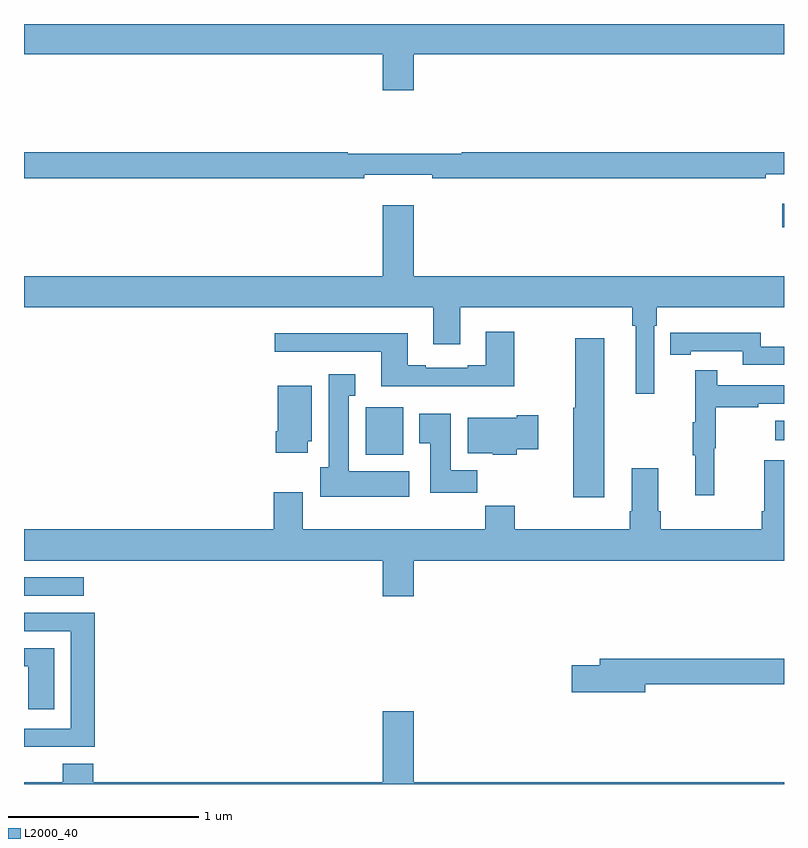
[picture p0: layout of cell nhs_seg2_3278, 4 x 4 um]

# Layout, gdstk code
import gdstk
lib = gdstk.Library(unit=1e-6, precision=1e-09)
def R(c, l, rs):  # rectangles x0, y0, x1, y1
    for r in rs: c.add(gdstk.rectangle(r[:2], r[2:], *l))
def P(c, l, *ps):  # polygons
    for p in ps: c.add(gdstk.Polygon(p, *l))
L2000_40 = (2000, 40)

nhs_seg2_3278 = lib.new_cell('nhs_seg2_3278')
R(nhs_seg2_3278, L2000_40, [(283,640.791,283.315,640.887), (284.799,641.534,284.995,641.784), (286.953,641.609,287,641.713), (286.992,642.731,287,642.853)])
P(nhs_seg2_3278, L2000_40, [(285.052,643.64),(287,643.64),(287,643.8),(283,643.8),(283,643.64),(284.888,643.64),(284.888,643.452),(285.052,643.452)],
  [(284.792,643.007),(285.148,643.007),(285.148,642.988),(286.904,642.988),(286.904,643.008),(287,643.008),(287,643.124),(285.305,643.124),(285.305,643.117),(284.705,643.117),(284.705,643.124),(283,643.124),(283,642.988),(284.792,642.988)],
  [(286.317,642.212),(286.331,642.212),(286.331,642.308),(287,642.308),(287,642.472),(285.052,642.472),(285.052,642.847),(284.888,642.847),(284.888,642.472),(283,642.472),(283,642.308),(285.155,642.308),(285.155,642.114),(285.295,642.114),(285.295,642.308),(286.201,642.308),(286.201,642.212),(286.22,642.212),(286.22,641.853),(286.317,641.853)],
  [(285.579,642.181),(285.431,642.181),(285.431,642.004),(285.335,642.004),(285.335,641.991),(285.115,641.991),(285.115,642.004),(285.019,642.004),(285.019,642.172),(284.319,642.172),(284.319,642.075),(284.879,642.075),(284.879,641.894),(285.579,641.894)],
  [(287,642.102),(286.878,642.102),(286.878,642.175),(286.51,642.175),(286.51,642.174),(286.402,642.174),(286.402,642.058),(286.51,642.058),(286.51,642.078),(286.782,642.078),(286.782,642.006),(287,642.006)],
  [(286.054,642.145),(285.901,642.145),(285.901,641.781),(285.89,641.781),(285.89,641.31),(286.054,641.31)],
  [(286.634,641.568),(286.642,641.568),(286.642,641.782),(286.865,641.782),(286.865,641.802),(287,641.802),(287,641.898),(286.649,641.898),(286.649,641.977),(286.532,641.977),(286.532,641.705),(286.521,641.705),(286.521,641.531),(286.532,641.531),(286.532,641.319),(286.634,641.319)],
  [(285.028,641.446),(284.71,641.446),(284.71,641.843),(284.743,641.843),(284.743,641.956),(284.603,641.956),(284.603,641.466),(284.558,641.466),(284.558,641.312),(285.028,641.312)],
  [(284.494,641.604),(284.515,641.604),(284.515,641.896),(284.336,641.896),(284.336,641.656),(284.324,641.656),(284.324,641.544),(284.494,641.544)],
  [(285.386,641.452),(285.247,641.452),(285.247,641.749),(285.08,641.749),(285.08,641.593),(285.137,641.593),(285.137,641.334),(285.386,641.334)],
  [(285.594,641.563),(285.706,641.563),(285.706,641.741),(285.593,641.741),(285.593,641.728),(285.335,641.728),(285.335,641.54),(285.468,641.54),(285.468,641.534),(285.594,641.534)],
  [(285.052,640.976),(287,640.976),(287,641.503),(286.895,641.503),(286.895,641.236),(286.883,641.236),(286.883,641.14),(286.352,641.14),(286.352,641.236),(286.339,641.236),(286.339,641.461),(286.199,641.461),(286.199,641.236),(286.187,641.236),(286.187,641.14),(285.584,641.14),(285.584,641.264),(285.427,641.264),(285.427,641.14),(284.467,641.14),(284.467,641.335),(284.315,641.335),(284.315,641.14),(283,641.14),(283,640.976),(284.888,640.976),(284.888,640.788),(285.052,640.788)],
  [(283.373,640.701),(283,640.701),(283,640.605),(283.247,640.605),(283.247,640.092),(283,640.092),(283,639.995),(283.373,639.995)],
  [(283.159,640.515),(283,640.515),(283,640.419),(283.022,640.419),(283.022,640.194),(283.159,640.194)],
  [(286.27,640.324),(287,640.324),(287,640.46),(286.031,640.46),(286.031,640.424),(285.882,640.424),(285.882,640.282),(286.27,640.282)],
  [(287,639.808),(285.052,639.808),(285.052,640.183),(284.888,640.183),(284.888,639.808),(283.364,639.808),(283.364,639.907),(283.204,639.907),(283.204,639.808),(283,639.808),(283,639.8),(287,639.8)])

lib.write_gds('nhs_seg2_3278.gds')
